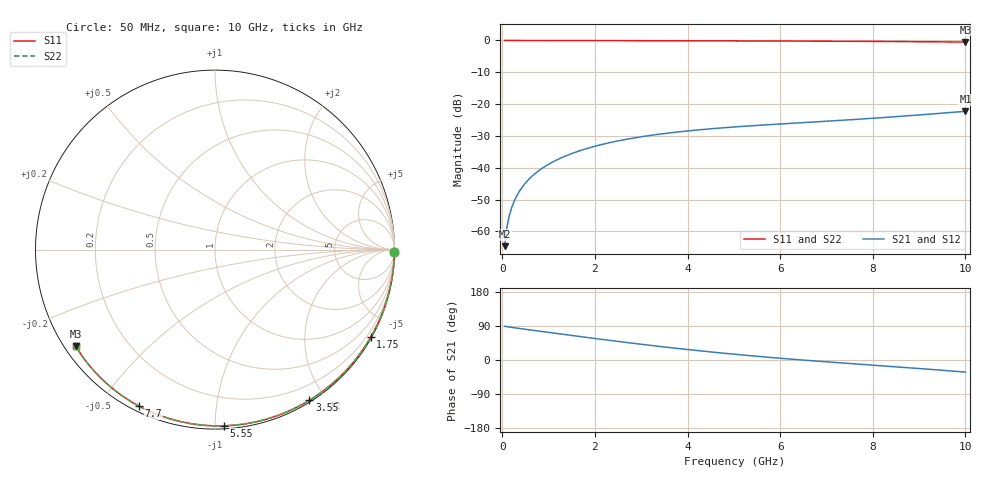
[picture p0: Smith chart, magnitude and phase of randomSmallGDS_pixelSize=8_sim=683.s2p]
! freq	dB(S11)	phase(S11)	dB(S12)	phase(S12)
!  dB(S21)	phase(S21)	dB(S22)	phase(S22)
!S-par simulation data
#  GHz  S  DB  R 50
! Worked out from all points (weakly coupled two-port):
!   200 points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, 50 MHz to 10 GHz, reference 50 ohm
!   highest |S21| = -22.26 dB at 10 GHz (marker M1); lowest = -64.6 dB at 50 MHz (marker M2)
!   lowest |S11| = -0.5 dB at 10 GHz (marker M3), VSWR 34.87, Z = 1.57 - j15.7 ohm
!   |S11| at or under -10 dB: nowhere
!   |S22| runs from -0.5 to 0.0 dB; largest |S21 - S12| = 0
!   S11 on the Smith chart (normalised r, x): 50 MHz: open; 1.75 GHz: 0.03, -3.82; 3.55 GHz: 0.02, -1.81; 5.55 GHz: 0.02, -1.05; 7.7 GHz: 0.02, -0.63; 10 GHz: 0.03, -0.31
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0.05  -0.00 -0.9  -64.64 89.0  -64.64 89.0  -0.00 -0.9
0.1  -0.00 -1.7  -58.63 88.0  -58.63 88.0  -0.00 -1.7
0.15  -0.00 -2.6  -55.13 87.0  -55.13 87.0  -0.00 -2.6
0.2  -0.00 -3.4  -52.65 86.1  -52.65 86.1  -0.00 -3.4
0.25  -0.00 -4.3  -50.73 85.2  -50.73 85.2  -0.00 -4.3
0.35  -0.00 -6.0  -47.85 83.5  -47.85 83.5  -0.00 -6.0
0.5  -0.01 -8.5  -44.79 81.0  -44.79 81.0  -0.01 -8.5
0.7  -0.01 -11.9  -41.92 77.8  -41.92 77.8  -0.01 -11.9
1  -0.02 -16.9  -38.90 72.8  -38.90 72.8  -0.02 -16.9
1.35  -0.03 -22.7  -36.40 67.1  -36.40 67.1  -0.03 -22.8
1.75  -0.04 -29.3  -34.29 60.7  -34.29 60.7  -0.04 -29.3
2.5  -0.06 -41.5  -31.56 49.0  -31.56 49.0  -0.06 -41.5
3.4  -0.08 -55.6  -29.43 35.8  -29.43 35.8  -0.08 -55.7
3.55  -0.08 -57.9  -29.16 33.7  -29.16 33.7  -0.08 -58.0
4.3  -0.10 -69.2  -28.01 23.8  -28.01 23.8  -0.10 -69.3
5.05  -0.13 -80.1  -27.14 14.8  -27.14 14.8  -0.13 -80.2
5.55  -0.15 -87.2  -26.65 9.3  -26.65 9.3  -0.15 -87.2
6.7  -0.21 -102.9  -25.64 -2.1  -25.64 -2.1  -0.21 -102.9
7.7  -0.27 -116.0  -24.74 -11.0  -24.74 -11.0  -0.27 -116.0
8.35  -0.32 -124.3  -24.10 -16.6  -24.10 -16.6  -0.32 -124.3
9.2  -0.41 -135.1  -23.18 -24.3  -23.18 -24.3  -0.41 -135.1
10  -0.50 -145.2  -22.26 -31.9  -22.26 -31.9  -0.50 -145.3
